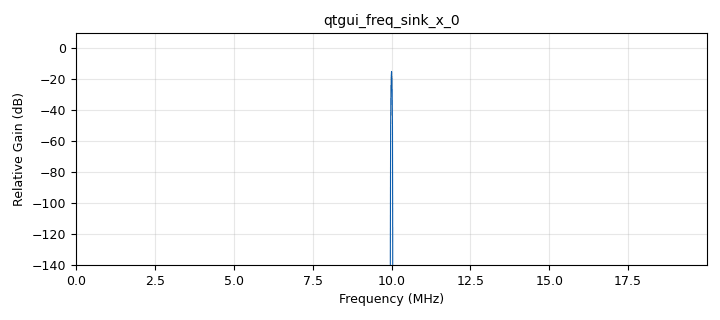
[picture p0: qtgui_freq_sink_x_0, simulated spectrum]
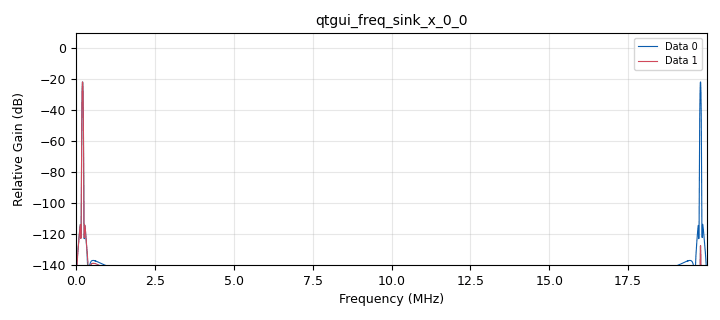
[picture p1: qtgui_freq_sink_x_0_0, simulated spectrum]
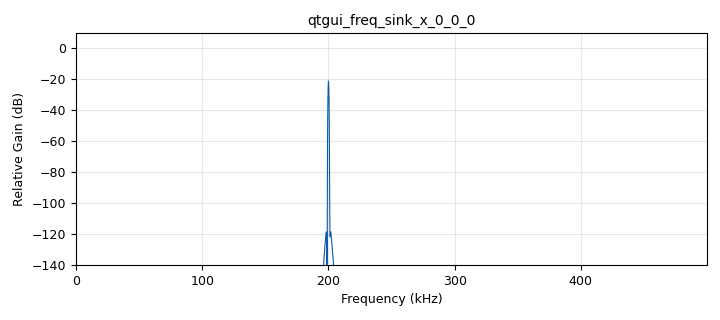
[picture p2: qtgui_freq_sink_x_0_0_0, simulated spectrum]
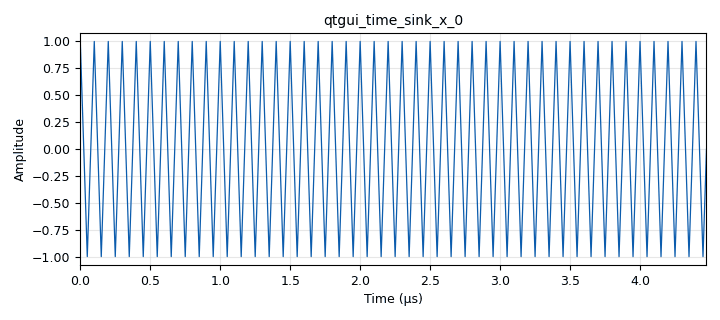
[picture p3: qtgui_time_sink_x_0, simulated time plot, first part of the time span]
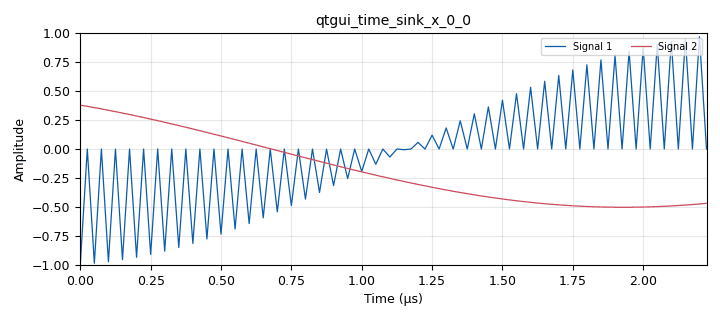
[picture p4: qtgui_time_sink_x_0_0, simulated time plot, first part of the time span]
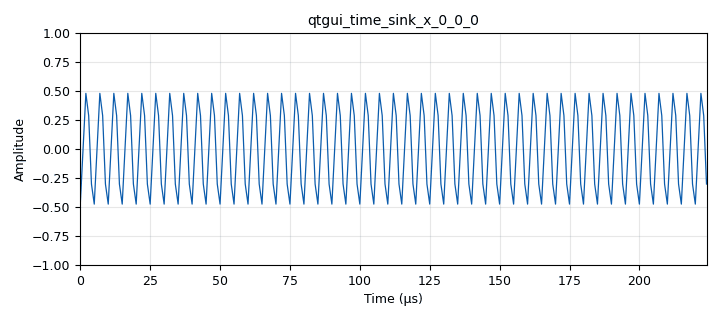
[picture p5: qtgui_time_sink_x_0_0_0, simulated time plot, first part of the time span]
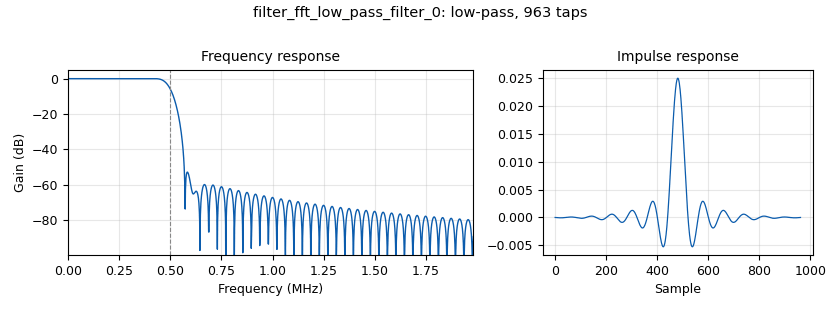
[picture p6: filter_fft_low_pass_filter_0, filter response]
options:
  parameters:
    generate_options: qt_gui
    id: NA
    output_language: python
    title: Not titled yet
  states: {}

blocks:
- name: lo_freq
  id: variable_qtgui_entry
  parameters:
    label: Local Oscillator (LO) Frequency (MHz)
    type: real
    value: '9.8'
  states: {}
- name: samp_rate
  id: variable
  parameters:
    value: '40_000_000'
  states: {}
- name: tone_freq
  id: variable_qtgui_entry
  parameters:
    label: Tone Frequency (MHz)
    type: real
    value: '10'
  states: {}
- name: analog_sig_source_x_0
  id: analog_sig_source_x
  parameters:
    amp: '1'
    freq: lo_freq*1e6
    offset: '0'
    phase: '0'
    samp_rate: samp_rate
    type: float
    waveform: analog.GR_COS_WAVE
  states: {}
- name: analog_sig_source_x_1
  id: analog_sig_source_x
  parameters:
    amp: '1'
    freq: tone_freq*1e6
    offset: '0'
    phase: '0'
    samp_rate: samp_rate
    type: float
    waveform: analog.GR_COS_WAVE
  states: {}
- name: blocks_keep_one_in_n_0
  id: blocks_keep_one_in_n
  parameters:
    comment: |-
      Represents the ADC in the SDR
      2x the Anti-Alias Filter Cutoff Freq
    n: '40'
    type: float
  states: {}
- name: blocks_multiply_xx_0
  id: blocks_multiply_xx
  parameters:
    type: float
  states: {}
- name: blocks_throttle2_0
  id: blocks_throttle2
  parameters:
    samples_per_second: samp_rate
    type: float
  states: {}
- name: filter_fft_low_pass_filter_0
  id: filter_fft_low_pass_filter
  parameters:
    comment: |-
      Anti-Alias Filter. Remove filters that would be
      Aliased by the new sampling
    cutoff_freq: 0.5e6
    decim: '1'
    gain: '1'
    samp_rate: samp_rate
    type: fff
    width: 100e3
    win: window.WIN_HAMMING
  states: {}
- name: qtgui_freq_sink_x_0
  id: qtgui_freq_sink_x
  parameters:
    bw: samp_rate
    fc: '0'
    fftsize: '4096'
    freqhalf: 'False'
    gui_hint: tab@0
    type: float
  states: {}
- name: qtgui_freq_sink_x_0_0
  id: qtgui_freq_sink_x
  parameters:
    bw: samp_rate
    fc: '0'
    fftsize: '4096'
    freqhalf: 'False'
    gui_hint: tab@1
    nconnections: '2'
    type: float
  states: {}
- name: qtgui_freq_sink_x_0_0_0
  id: qtgui_freq_sink_x
  parameters:
    bw: samp_rate / 40
    fc: '0'
    fftsize: '4096'
    freqhalf: 'False'
    gui_hint: tab@2
    type: float
  states: {}
- name: qtgui_time_sink_x_0
  id: qtgui_time_sink_x
  parameters:
    entags: 'False'
    gui_hint: tab@0
    size: '4096'
    srate: samp_rate
    type: float
  states: {}
- name: qtgui_time_sink_x_0_0
  id: qtgui_time_sink_x
  parameters:
    gui_hint: tab@1
    nconnections: '2'
    size: '4096'
    srate: samp_rate
    type: float
  states: {}
- name: qtgui_time_sink_x_0_0_0
  id: qtgui_time_sink_x
  parameters:
    gui_hint: tab@2
    size: '4096'
    srate: samp_rate / 40
    type: float
  states: {}
- name: tab
  id: qtgui_tab_widget
  parameters:
    label0: Input RF (radio frequency) signal
    label1: Intermediate frequency (IF) signal
    label2: ADC Output
    num_tabs: '3'
  states: {}

connections:
- [analog_sig_source_x_0, '0', blocks_multiply_xx_0, '1']
- [analog_sig_source_x_1, '0', blocks_throttle2_0, '0']
- [blocks_keep_one_in_n_0, '0', qtgui_freq_sink_x_0_0_0, '0']
- [blocks_keep_one_in_n_0, '0', qtgui_time_sink_x_0_0_0, '0']
- [blocks_multiply_xx_0, '0', filter_fft_low_pass_filter_0, '0']
- [blocks_multiply_xx_0, '0', qtgui_freq_sink_x_0_0, '0']
- [blocks_multiply_xx_0, '0', qtgui_time_sink_x_0_0, '0']
- [blocks_throttle2_0, '0', blocks_multiply_xx_0, '0']
- [blocks_throttle2_0, '0', qtgui_freq_sink_x_0, '0']
- [blocks_throttle2_0, '0', qtgui_time_sink_x_0, '0']
- [filter_fft_low_pass_filter_0, '0', blocks_keep_one_in_n_0, '0']
- [filter_fft_low_pass_filter_0, '0', qtgui_freq_sink_x_0_0, '1']
- [filter_fft_low_pass_filter_0, '0', qtgui_time_sink_x_0_0, '1']

metadata:
  file_format: 1
  grc_version: 3.10.12.0
